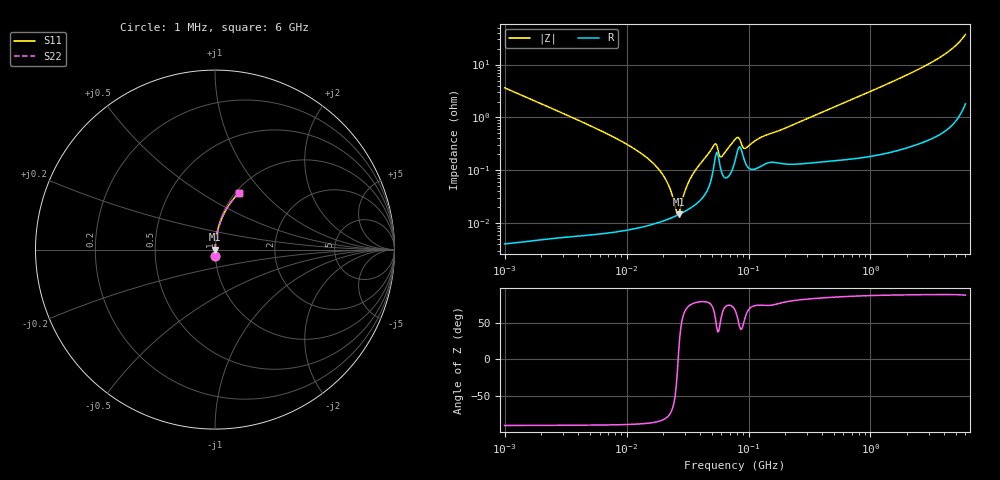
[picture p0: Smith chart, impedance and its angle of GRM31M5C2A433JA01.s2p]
!Murata Part Number: GRM31M5C2A433JA01
!These Parameters are Measured in Series Mode Connection
!Data Generated on Mar 30, 2021
!  o--ll--o
!Port1  Port2
!  o------o
!Operation Temp=25[degC], DC Bias Voltage=0[V]
!Freq. Start=1000[kHz] Stop=6[GHz] 401[Steps]
# Hz S RI R 50
!Freq.(Hz) S11(Real) S11(Imag) S21(Real) S21(Imag) S12(Real) S12(Imag) S22(Real) S22(Imag)
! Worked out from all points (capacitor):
!   401 points, 1 MHz to 6 GHz, reference 50 ohm
!   read as one part in series: C = 43.7 nF near 1.044 MHz
!   lowest |Z| = 14.6 mohm at 26.68 MHz (marker M1)
!   series resonance near 26.49 MHz, so ESL is about 830 pH
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1000000  0.00136 -0.0363  0.9986 0.0363  0.9986 0.0363  0.00136 -0.0363
4293785  0.000126 -0.00825  0.9999 0.00825  0.9999 0.00825  0.000126 -0.00825
1.117988e7  8.39e-05 -0.00268  0.9999 0.00268  0.9999 0.00268  8.39e-05 -0.00268
1.483293e7  9.18e-05 -0.00169  0.9999 0.00169  0.9999 0.00169  9.18e-05 -0.00169
1.843659e7  0.000104 -0.00103  0.9999 0.00103  0.9999 0.00103  0.000104 -0.00103
2.194036e7  0.000119 -0.000528  0.9999 0.000528  0.9999 0.000528  0.000119 -0.000528
2.554826e7  0.000138 -0.000101  0.9999 0.000101  0.9999 0.000101  0.000138 -0.000101
2.668407e7  0.000144 2.11e-05  0.9999 -2.11e-05  0.9999 -2.11e-05  0.000144 2.11e-05
3.107204e7  0.000174 0.000458  0.9998 -0.000458  0.9998 -0.000458  0.000174 0.000458
3.389622e7  0.000197 0.000722  0.9998 -0.000722  0.9998 -0.000722  0.000197 0.000722
5.124051e7  0.000998 0.00263  0.999 -0.00263  0.999 -0.00263  0.000998 0.00263
5.351853e7  0.00181 0.00262  0.9982 -0.00262  0.9982 -0.00262  0.00181 0.00262
5.838291e7  0.00122 0.00132  0.9988 -0.00132  0.9988 -0.00132  0.00122 0.00132
6.097846e7  0.000842 0.00167  0.9992 -0.00167  0.9992 -0.00167  0.000842 0.00167
7.745967e7  0.00151 0.0035  0.9985 -0.0035  0.9985 -0.0035  0.00151 0.0035
8.268215e7  0.00263 0.00322  0.9974 -0.00322  0.9974 -0.00322  0.00263 0.00322
9.420718e7  0.00138 0.00219  0.9986 -0.00219  0.9986 -0.00219  0.00138 0.00219
1.305463e8  0.00126 0.00416  0.9987 -0.00416  0.9987 -0.00416  0.00126 0.00416
3.325952e8  0.00148 0.0103  0.9985 -0.0103  0.9985 -0.0103  0.00148 0.0103
1.428092e9  0.00414 0.0445  0.9959 -0.0445  0.9959 -0.0445  0.00414 0.0445
3.638376e9  0.0218 0.1296  0.9782 -0.1296  0.9782 -0.1296  0.0218 0.1296
6e9  0.133 0.3162  0.867 -0.3162  0.867 -0.3162  0.133 0.3162
